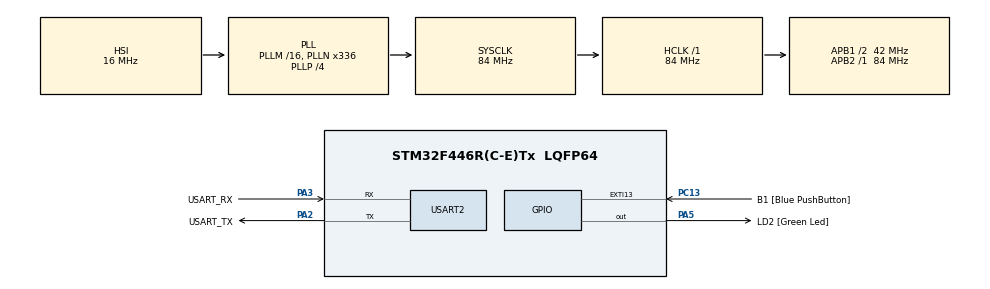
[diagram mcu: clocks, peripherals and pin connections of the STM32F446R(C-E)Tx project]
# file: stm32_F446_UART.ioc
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Mcu.Family=STM32F4
Mcu.Name=STM32F446R(C-E)Tx
Mcu.Package=LQFP64
NVIC.PriorityGroup=NVIC_PRIORITYGROUP_0
PA13.GPIO_Label=TMS
PA13.Mode=Serial_Wire
PA13.Signal=SYS_JTMS-SWDIO
PA14.GPIO_Label=TCK
PA14.Mode=Serial_Wire
PA14.Signal=SYS_JTCK-SWCLK
PA2.GPIO_Label=USART_TX
PA2.Mode=Asynchronous
PA2.Signal=USART2_TX
PA3.GPIO_Label=USART_RX
PA3.Mode=Asynchronous
PA3.Signal=USART2_RX
PA5.GPIO_Label=LD2 [Green Led]
PA5.Signal=GPIO_Output
PB3.GPIO_Label=SWO
PB3.Signal=SYS_JTDO-SWO
PC13.GPIO_Label=B1 [Blue PushButton]
PC13.GPIO_ModeDefaultEXTI=GPIO_MODE_IT_FALLING
PC13.Signal=GPXTI13
PC14-OSC32_IN.Mode=LSE-External-Oscillator
PC14-OSC32_IN.Signal=RCC_OSC32_IN
PC15-OSC32_OUT.Mode=LSE-External-Oscillator
PC15-OSC32_OUT.Signal=RCC_OSC32_OUT
PH0-OSC_IN.Mode=HSE-External-Oscillator
PH0-OSC_IN.Signal=RCC_OSC_IN
PH1-OSC_OUT.Mode=HSE-External-Oscillator
PH1-OSC_OUT.Signal=RCC_OSC_OUT
ProjectManager.HeapSize=0x200
ProjectManager.StackSize=0x400
ProjectManager.TargetToolchain=STM32CubeIDE
RCC.48MHZClocksFreq_Value=84000000
RCC.AHBFreq_Value=84000000
RCC.APB1CLKDivider=RCC_HCLK_DIV2
RCC.APB1Freq_Value=42000000
RCC.APB1TimFreq_Value=84000000
RCC.APB2Freq_Value=84000000
RCC.APB2TimFreq_Value=84000000
RCC.CortexFreq_Value=84000000
RCC.FLatency-AdvancedSettings=FLASH_LATENCY_2
RCC.HCLKFreq_Value=84000000
RCC.HSE_VALUE=8000000
RCC.HSI_VALUE=16000000
RCC.PLLN=336
RCC.PLLP=RCC_PLLP_DIV4
RCC.SYSCLKFreq_VALUE=84000000
RCC.SYSCLKSource=RCC_SYSCLKSOURCE_PLLCLK
RCC.USBFreq_Value=168000000
RCC.VCOOutputFreq_Value=336000000
USART2.VirtualMode=VM_ASYNC
board=NUCLEO-F446RE

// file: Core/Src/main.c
/* USER CODE BEGIN Header */
/**
  ******************************************************************************
  * @file           : main.c
  * @brief          : Main program body
  ******************************************************************************
  * @attention
  *
  * Copyright (c) 2022 STMicroelectronics.
  * All rights reserved.
  *
  * This software is licensed under terms that can be found in the LICENSE file
  * in the root directory of this software component.
  * If no LICENSE file comes with this software, it is provided AS-IS.
  *
  ******************************************************************************
  */
/* USER CODE END Header */
#include "main.h"
#include <stdio.h>

 UART_HandleTypeDef huart2;

void SystemClock_Config(void);
static void MX_GPIO_Init(void);
static void MX_USART2_UART_Init(void);

/* USER CODE BEGIN 0 */
uint8_t uart_flag=0;
char rxbuf[1];
char start[]="UART_START";

/* USER CODE END 0 */

int main(void)
{

  /* MCU Configuration--------------------------------------------------------*/

  /* Reset of all peripherals, Initializes the Flash interface and the Systick. */
  HAL_Init();

  /* Configure the system clock */
  SystemClock_Config();

  /* Initialize all configured peripherals */
  MX_GPIO_Init();
  MX_USART2_UART_Init();

  /* Infinite loop */
  while (1)
  {

    /* USER CODE BEGIN 3 */
	  HAL_UART_Receive(&huart2, (uint8_t *)rxbuf,sizeof(rxbuf),3000);
	  HAL_UART_Transmit(&huart2, (uint8_t *)rxbuf,sizeof(rxbuf),3000);

	  		  if(rxbuf[0]!=0){
	  			  if(rxbuf[0]=='1'){
	  				  printf("LED_ON\r\n");
	  				  HAL_GPIO_WritePin(GPIOA,GPIO_PIN_5,1);

	  				  rxbuf[0]=0;
	  			  }
	  			  else{
	  				  printf("LED_OFF\r\n");
	  				  HAL_GPIO_WritePin(GPIOA,GPIO_PIN_5,0);

	  				  rxbuf[0]=0;
	  			  }
	  		  }
	  		  else {
  				  printf("buff=0\r\n");

	  		  }

  }
  /* USER CODE END 3 */
}

void SystemClock_Config(void)
{
  RCC_OscInitTypeDef RCC_OscInitStruct = {0};
  RCC_ClkInitTypeDef RCC_ClkInitStruct = {0};

  /** Configure the main internal regulator output voltage
  */
  __HAL_RCC_PWR_CLK_ENABLE();
  __HAL_PWR_VOLTAGESCALING_CONFIG(PWR_REGULATOR_VOLTAGE_SCALE3);

  /** Initializes the RCC Oscillators according to the specified parameters
  * in the RCC_OscInitTypeDef structure.
  */
  RCC_OscInitStruct.OscillatorType = RCC_OSCILLATORTYPE_HSI;
  RCC_OscInitStruct.HSIState = RCC_HSI_ON;
  RCC_OscInitStruct.HSICalibrationValue = RCC_HSICALIBRATION_DEFAULT;
  RCC_OscInitStruct.PLL.PLLState = RCC_PLL_ON;
  RCC_OscInitStruct.PLL.PLLSource = RCC_PLLSOURCE_HSI;
  RCC_OscInitStruct.PLL.PLLM = 16;
  RCC_OscInitStruct.PLL.PLLN = 336;
  RCC_OscInitStruct.PLL.PLLP = RCC_PLLP_DIV4;
  RCC_OscInitStruct.PLL.PLLQ = 2;
  RCC_OscInitStruct.PLL.PLLR = 2;
  if (HAL_RCC_OscConfig(&RCC_OscInitStruct) != HAL_OK)
  {
    Error_Handler();
  }

  /** Initializes the CPU, AHB and APB buses clocks
  */
  RCC_ClkInitStruct.ClockType = RCC_CLOCKTYPE_HCLK|RCC_CLOCKTYPE_SYSCLK
                              |RCC_CLOCKTYPE_PCLK1|RCC_CLOCKTYPE_PCLK2;
  RCC_ClkInitStruct.SYSCLKSource = RCC_SYSCLKSOURCE_PLLCLK;
  RCC_ClkInitStruct.AHBCLKDivider = RCC_SYSCLK_DIV1;
  RCC_ClkInitStruct.APB1CLKDivider = RCC_HCLK_DIV2;
  RCC_ClkInitStruct.APB2CLKDivider = RCC_HCLK_DIV1;

  if (HAL_RCC_ClockConfig(&RCC_ClkInitStruct, FLASH_LATENCY_2) != HAL_OK)
  {
    Error_Handler();
  }
}

static void MX_USART2_UART_Init(void)
{

  huart2.Instance = USART2;
  huart2.Init.BaudRate = 115200;
  huart2.Init.WordLength = UART_WORDLENGTH_8B;
  huart2.Init.StopBits = UART_STOPBITS_1;
  huart2.Init.Parity = UART_PARITY_NONE;
  huart2.Init.Mode = UART_MODE_TX_RX;
  huart2.Init.HwFlowCtl = UART_HWCONTROL_NONE;
  huart2.Init.OverSampling = UART_OVERSAMPLING_16;
  if (HAL_UART_Init(&huart2) != HAL_OK)
  {
    Error_Handler();
  }

}

static void MX_GPIO_Init(void)
{
  GPIO_InitTypeDef GPIO_InitStruct = {0};

  /* GPIO Ports Clock Enable */
  __HAL_RCC_GPIOC_CLK_ENABLE();
  __HAL_RCC_GPIOH_CLK_ENABLE();
  __HAL_RCC_GPIOA_CLK_ENABLE();
  __HAL_RCC_GPIOB_CLK_ENABLE();

  /*Configure GPIO pin Output Level */
  HAL_GPIO_WritePin(LD2_GPIO_Port, LD2_Pin, GPIO_PIN_RESET);

  /*Configure GPIO pin : B1_Pin */
  GPIO_InitStruct.Pin = B1_Pin;
  GPIO_InitStruct.Mode = GPIO_MODE_IT_FALLING;
  GPIO_InitStruct.Pull = GPIO_NOPULL;
  HAL_GPIO_Init(B1_GPIO_Port, &GPIO_InitStruct);

  /*Configure GPIO pin : LD2_Pin */
  GPIO_InitStruct.Pin = LD2_Pin;
  GPIO_InitStruct.Mode = GPIO_MODE_OUTPUT_PP;
  GPIO_InitStruct.Pull = GPIO_NOPULL;
  GPIO_InitStruct.Speed = GPIO_SPEED_FREQ_LOW;
  HAL_GPIO_Init(LD2_GPIO_Port, &GPIO_InitStruct);

}

/* USER CODE BEGIN 4 */
int _write(int file, char *ptr, int len)
{
  HAL_UART_Transmit(&huart2,(uint8_t *)ptr,len,10);
  return len;
}
void HAL_UART_RxCpltCallback(UART_HandleTypeDef*UartHandle)
{
	uart_flag=1;
}
/* USER CODE END 4 */

void Error_Handler(void)
{
  __disable_irq();
  while (1)
  {
  }
}
